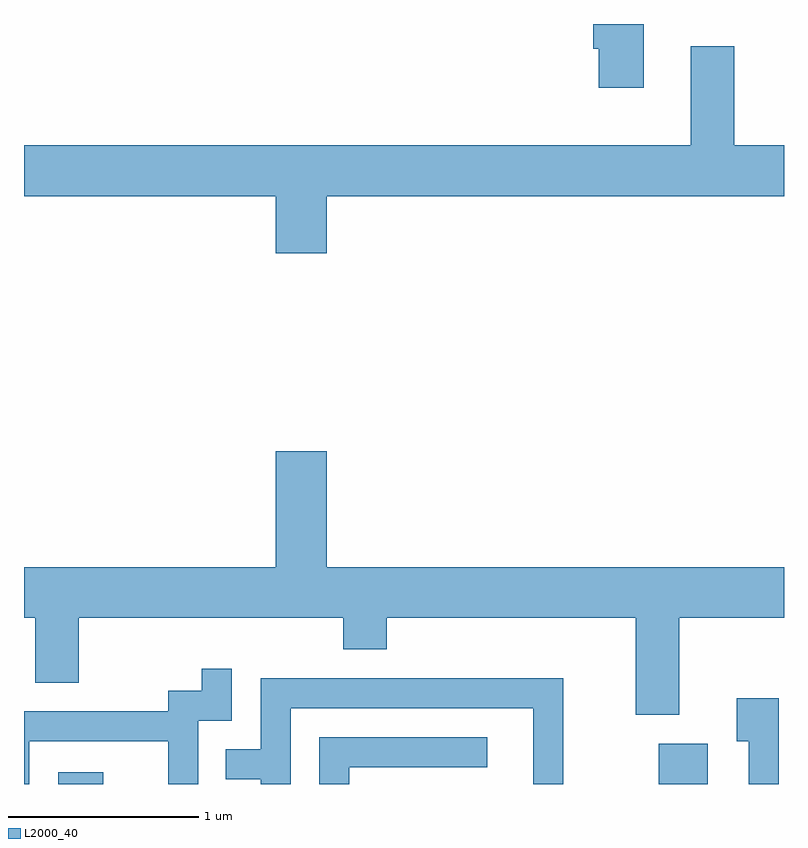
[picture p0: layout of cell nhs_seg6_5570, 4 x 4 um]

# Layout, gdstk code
import gdstk
lib = gdstk.Library(unit=1e-6, precision=1e-09)
def R(c, l, rs):  # rectangles x0, y0, x1, y1
    for r in rs: c.add(gdstk.rectangle(r[:2], r[2:], *l))
def P(c, l, *ps):  # polygons
    for p in ps: c.add(gdstk.Polygon(p, *l))
L2000_40 = (2000, 40)

nhs_seg6_5570 = lib.new_cell('nhs_seg6_5570')
R(nhs_seg6_5570, L2000_40, [(353.791,1660.162,354.028,1660.224), (356.951,1660.162,357.209,1660.374)])
P(nhs_seg6_5570, L2000_40, [(356.874,1664.162),(356.606,1664.162),(356.606,1664.031),(356.636,1664.031),(356.636,1663.826),(356.874,1663.826)],
  [(355.204,1663.256),(357.611,1663.256),(357.611,1663.524),(357.349,1663.524),(357.349,1664.044),(357.121,1664.044),(357.121,1663.524),(353.611,1663.524),(353.611,1663.256),(354.936,1663.256),(354.936,1662.956),(355.204,1662.956)],
  [(357.059,1661.036),(357.611,1661.036),(357.611,1661.304),(355.204,1661.304),(355.204,1661.914),(354.936,1661.914),(354.936,1661.304),(353.611,1661.304),(353.611,1661.036),(353.671,1661.036),(353.671,1660.696),(353.899,1660.696),(353.899,1661.036),(355.291,1661.036),(355.291,1660.871),(355.519,1660.871),(355.519,1661.036),(356.831,1661.036),(356.831,1660.526),(357.059,1660.526)],
  [(353.639,1660.386),(354.371,1660.386),(354.371,1660.162),(354.529,1660.162),(354.529,1660.496),(354.704,1660.496),(354.704,1660.768),(354.546,1660.768),(354.546,1660.654),(354.371,1660.654),(354.371,1660.544),(353.611,1660.544),(353.611,1660.162),(353.639,1660.162)],
  [(355.014,1660.561),(356.291,1660.561),(356.291,1660.162),(356.449,1660.162),(356.449,1660.719),(354.856,1660.719),(354.856,1660.344),(354.673,1660.344),(354.673,1660.186),(354.856,1660.186),(354.856,1660.162),(355.014,1660.162)],
  [(357.584,1660.614),(357.361,1660.614),(357.361,1660.386),(357.426,1660.386),(357.426,1660.162),(357.584,1660.162)],
  [(355.324,1660.251),(356.048,1660.251),(356.048,1660.409),(355.166,1660.409),(355.166,1660.162),(355.324,1660.162)])

lib.write_gds('nhs_seg6_5570.gds')
